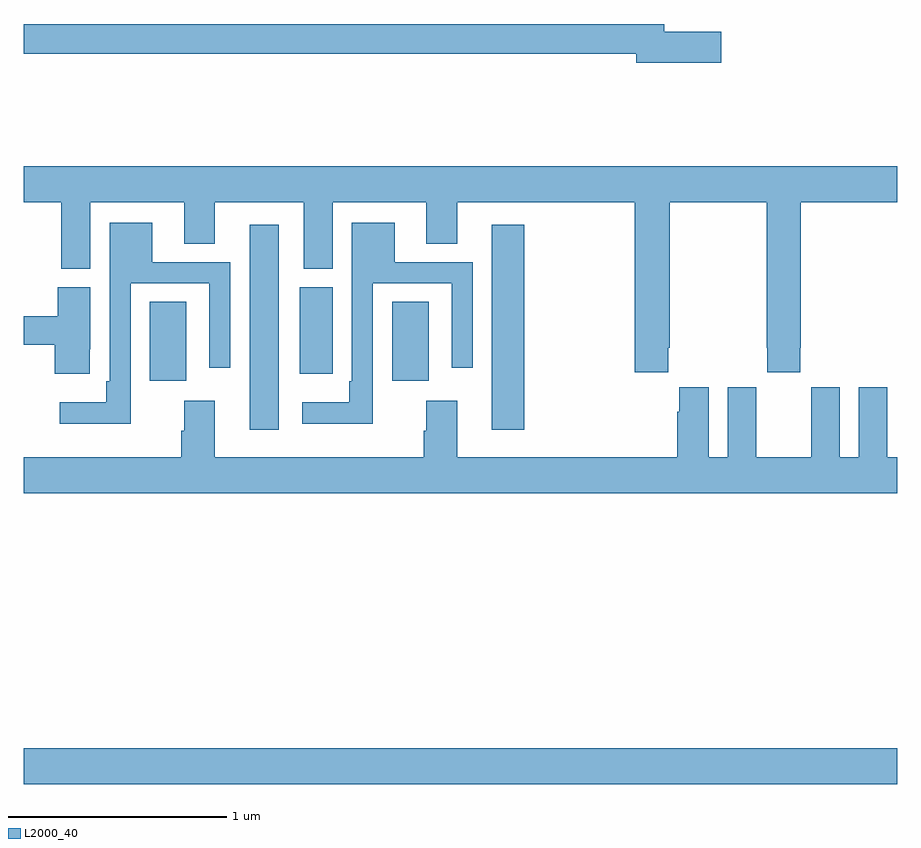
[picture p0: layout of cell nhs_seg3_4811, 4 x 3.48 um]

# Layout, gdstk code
import gdstk
lib = gdstk.Library(unit=1e-6, precision=1e-09)
def R(c, l, rs):  # rectangles x0, y0, x1, y1
    for r in rs: c.add(gdstk.rectangle(r[:2], r[2:], *l))
def P(c, l, *ps):  # polygons
    for p in ps: c.add(gdstk.Polygon(p, *l))
L2000_40 = (2000, 40)

nhs_seg3_4811 = lib.new_cell('nhs_seg3_4811')
R(nhs_seg3_4811, L2000_40, [(369,740.876,373,741.04), (370.034,742.497,370.168,743.437), (371.144,742.497,371.291,743.437), (369.578,742.722,369.745,743.084), (370.688,742.722,370.855,743.084), (370.265,742.755,370.414,743.151)])
P(nhs_seg3_4811, L2000_40, [(372.193,744.32),(371.932,744.32),(371.932,744.356),(369,744.356),(369,744.22),(371.804,744.22),(371.804,744.178),(372.193,744.178)],
  [(369,743.54),(369.173,743.54),(369.173,743.236),(369.304,743.236),(369.304,743.54),(369.734,743.54),(369.734,743.35),(369.874,743.35),(369.874,743.54),(370.283,743.54),(370.283,743.236),(370.414,743.236),(370.414,743.54),(370.844,743.54),(370.844,743.35),(370.984,743.35),(370.984,743.54),(371.798,743.54),(371.798,742.761),(371.951,742.761),(371.951,742.873),(371.958,742.873),(371.958,743.54),(372.403,743.54),(372.403,742.873),(372.405,742.873),(372.405,742.761),(372.555,742.761),(372.555,742.873),(372.558,742.873),(372.558,743.54),(373,743.54),(373,743.704),(369,743.704)],
  [(370.599,743.169),(370.959,743.169),(370.959,742.782),(371.055,742.782),(371.055,743.265),(370.699,743.265),(370.699,743.446),(370.503,743.446),(370.503,742.72),(370.491,742.72),(370.491,742.624),(370.275,742.624),(370.275,742.526),(370.599,742.526)],
  [(369.489,743.169),(369.849,743.169),(369.849,742.782),(369.945,742.782),(369.945,743.265),(369.589,743.265),(369.589,743.446),(369.393,743.446),(369.393,742.72),(369.377,742.72),(369.377,742.624),(369.165,742.624),(369.165,742.526),(369.489,742.526)],
  [(369.303,742.867),(369.304,742.867),(369.304,743.151),(369.155,743.151),(369.155,743.017),(369,743.017),(369,742.888),(369.143,742.888),(369.143,742.755),(369.303,742.755)],
  [(373,742.372),(372.955,742.372),(372.955,742.58),(372.954,742.58),(372.954,742.693),(372.824,742.693),(372.824,742.372),(372.736,742.372),(372.736,742.693),(372.606,742.693),(372.606,742.58),(372.605,742.58),(372.605,742.372),(372.355,742.372),(372.355,742.58),(372.354,742.58),(372.354,742.693),(372.224,742.693),(372.224,742.372),(372.136,742.372),(372.136,742.693),(372.002,742.693),(372.002,742.58),(371.993,742.58),(371.993,742.372),(370.984,742.372),(370.984,742.63),(370.844,742.63),(370.844,742.493),(370.832,742.493),(370.832,742.372),(369.874,742.372),(369.874,742.63),(369.734,742.63),(369.734,742.493),(369.722,742.493),(369.722,742.372),(369,742.372),(369,742.208),(373,742.208)])

lib.write_gds('nhs_seg3_4811.gds')
